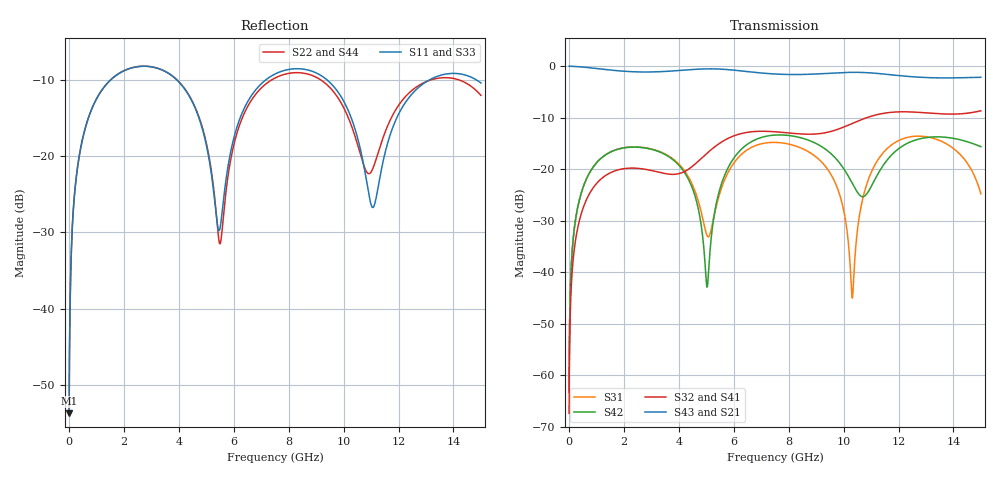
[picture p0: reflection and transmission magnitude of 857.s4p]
! Created with skrf 1.8.0 (http://scikit-rf.org).
# GHz S RI R 50.0
!freq ReS11 ImS11 ReS12 ImS12 ReS13 ImS13
! ReS14 ImS14
! ReS21 ImS21 ReS22 ImS22 ReS23 ImS23
! ReS24 ImS24
! ReS31 ImS31 ReS32 ImS32 ReS33 ImS33
! ReS34 ImS34
! ReS41 ImS41 ReS42 ImS42 ReS43 ImS43
! ReS44 ImS44
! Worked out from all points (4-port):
!   2499 points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, 5 MHz to 15 GHz, reference 50 ohm
!   strongest paths, dB at 5 MHz, 3.476 GHz, 7.19 GHz, 11.1 GHz, 15 GHz:
!     S43: 0.0, -1.0, -1.4, -1.4, -2.2
!     S21: 0.0, -1.0, -1.4, -1.4, -2.2
!     S32: -67.3, -20.8, -12.6, -9.6, -8.7
!     S41: -67.3, -20.8, -12.7, -9.6, -8.7
!     S42: -63.3, -17.1, -13.6, -22.4, -15.6
!     S31: -63.3, -17.0, -14.9, -19.6, -24.8
!   lowest |S11| = -53.8 dB at 5 MHz (marker M1), VSWR 1.00, Z = 50.2 + j0.124 ohm
!   |S11| at or under -10 dB: start of sweep to 1.51 GHz; 3.934 GHz to 7.158 GHz (3.223 GHz wide, 58.1 % of centre); 9.405 GHz to 13.11 GHz (3.707 GHz wide, 32.9 % of centre) (the widest 3 of 4)
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0.005  0.00164 0.00124  0.9983 -0.00318  8.33e-05 0.000681  -8.07e-05 -0.000422
       0.9983 -0.00318  0.00164 0.00124  -8.07e-05 -0.000422  8.32e-05 0.000681
       8.33e-05 0.000681  -8.07e-05 -0.000422  0.00164 0.00124  0.9983 -0.00318
       -8.07e-05 -0.000422  8.32e-05 0.000681  0.9983 -0.00318  0.00164 0.00124
1.619545  0.2808 0.1717  0.5226 -0.7441  0.1388 0.0606  -0.0953 -0.0014
          0.5226 -0.7441  0.2812 0.1714  -0.0953 -0.00139  0.138 0.0618
          0.1388 0.0606  -0.0953 -0.00139  0.2808 0.1717  0.5226 -0.7441
          -0.0953 -0.0014  0.138 0.0618  0.5226 -0.7441  0.2811 0.1715
5.027095  0.0564 -0.0976  -0.883 -0.3228  -0.0206 -0.00959  -0.0444 0.1357
          -0.883 -0.3228  0.0529 -0.1035  -0.0446 0.1357  0.00719 0.000244
          -0.0206 -0.00959  -0.0446 0.1357  0.0553 -0.0982  -0.8829 -0.323
          -0.0444 0.1357  0.00719 0.000244  -0.8829 -0.323  0.0542 -0.1034
8.566069  0.3674 -0.0609  0.0194 0.8292  0.1473 -0.0495  0.206 -0.0718
          0.0194 0.8292  0.3489 -0.0328  0.2067 -0.0724  0.1495 -0.1291
          0.1473 -0.0495  0.2067 -0.0724  0.3653 -0.057  0.0192 0.8301
          0.206 -0.0718  0.1495 -0.1291  0.0192 0.8301  0.3466 -0.0364
10.3168  0.0999 -0.1388  0.7309 0.4712  0.00552 0.00113  0.1435 -0.2377
         0.7309 0.4712  0.1161 -0.0997  0.1425 -0.2385  -0.0525 -0.0507
         0.00552 0.00113  0.1425 -0.2385  0.1019 -0.1344  0.7315 0.4713
         0.1435 -0.2377  -0.0525 -0.0507  0.7315 0.4713  0.1111 -0.1002
11.77991  0.1087 0.1071  0.7864 -0.2348  0.1301 0.1167  -0.1357 -0.3307
          0.7864 -0.2348  0.1479 0.1109  -0.1363 -0.3301  0.0908 0.1068
          0.1301 0.1167  -0.1363 -0.3301  0.1104 0.1067  0.7868 -0.2342
          -0.1357 -0.3307  0.0908 0.1068  0.7868 -0.2342  0.1452 0.1116
15  0.2757 -0.1251  -0.329 -0.7027  0.0172 -0.0551  -0.324 0.1742
    -0.329 -0.7027  0.2324 -0.095  -0.324 0.176  -0.0414 -0.1602
    0.0172 -0.0551  -0.324 0.176  0.2702 -0.1154  -0.3308 -0.705
    -0.324 0.1742  -0.0414 -0.1602  -0.3308 -0.705  0.2207 -0.0963
